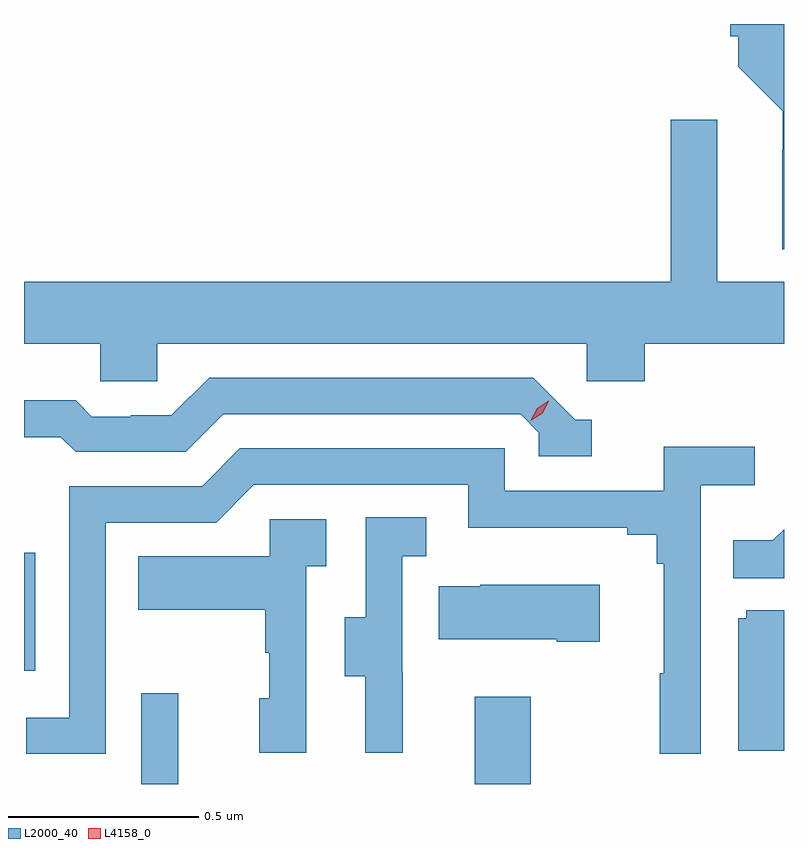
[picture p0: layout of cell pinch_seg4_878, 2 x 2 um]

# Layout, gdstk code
import gdstk
lib = gdstk.Library(unit=1e-6, precision=1e-09)
def R(c, l, rs):  # rectangles x0, y0, x1, y1
    for r in rs: c.add(gdstk.rectangle(r[:2], r[2:], *l))
def P(c, l, *ps):  # polygons
    for p in ps: c.add(gdstk.Polygon(p, *l))
L2000_40 = (2000, 40)
L4158_0 = (4158, 0)

pinch_seg4_878 = lib.new_cell('pinch_seg4_878')
R(pinch_seg4_878, L2000_40, [(853.083,800.99,853.181,801.229), (853.961,800.99,854.109,801.22), (852.775,801.288,852.804,801.598)])
P(pinch_seg4_878, L2000_40, [(854.775,802.99),(854.633,802.99),(854.633,802.958),(854.654,802.958),(854.654,802.878),(854.772,802.76),(854.772,802.658),(854.771,802.658),(854.771,802.397),(854.775,802.397)],
  [(853.125,802.148),(854.256,802.148),(854.256,802.05),(854.408,802.05),(854.408,802.148),(854.775,802.148),(854.775,802.312),(854.599,802.312),(854.599,802.738),(854.477,802.738),(854.477,802.312),(852.775,802.312),(852.775,802.148),(852.975,802.148),(852.975,802.05),(853.125,802.05)],
  [(854.269,801.948),(854.226,801.948),(854.115,802.059),(853.262,802.059),(853.163,801.96),(853.056,801.96),(853.056,801.957),(852.953,801.957),(852.911,802),(852.775,802),(852.775,801.903),(852.872,801.903),(852.911,801.864),(853.2,801.864),(853.299,801.963),(854.082,801.963),(854.13,801.915),(854.13,801.852),(854.269,801.852)],
  [(852.99,801.678),(853.281,801.678),(853.38,801.777),(853.944,801.777),(853.944,801.665),(854.363,801.665),(854.363,801.646),(854.44,801.646),(854.44,801.569),(854.459,801.569),(854.459,801.281),(854.448,801.281),(854.448,801.069),(854.556,801.069),(854.556,801.776),(854.698,801.776),(854.698,801.878),(854.459,801.878),(854.459,801.762),(854.04,801.762),(854.04,801.873),(853.343,801.873),(853.244,801.774),(852.894,801.774),(852.894,801.165),(852.781,801.165),(852.781,801.069),(852.99,801.069)],
  [(853.772,801.285),(853.77,801.285),(853.77,801.589),(853.834,801.589),(853.834,801.692),(853.674,801.692),(853.674,801.429),(853.619,801.429),(853.619,801.274),(853.673,801.274),(853.673,801.072),(853.772,801.072)],
  [(853.518,801.563),(853.57,801.563),(853.57,801.687),(853.422,801.687),(853.422,801.589),(853.075,801.589),(853.075,801.449),(853.41,801.449),(853.41,801.335),(853.42,801.335),(853.42,801.216),(853.394,801.216),(853.394,801.072),(853.518,801.072)],
  [(854.775,801.661),(854.745,801.631),(854.641,801.631),(854.641,801.532),(854.775,801.532)],
  [(854.29,801.514),(853.975,801.514),(853.975,801.511),(853.867,801.511),(853.867,801.371),(854.177,801.371),(854.177,801.364),(854.29,801.364)],
  [(854.775,801.447),(854.676,801.447),(854.676,801.426),(854.654,801.426),(854.654,801.078),(854.775,801.078)])
P(pinch_seg4_878, L4158_0, [(854.108,801.946),(854.108,801.947),(854.125,801.979),(854.156,801.999),(854.156,801.999),(854.156,801.999),(854.14,801.966),(854.109,801.946)])

lib.write_gds('pinch_seg4_878.gds')
